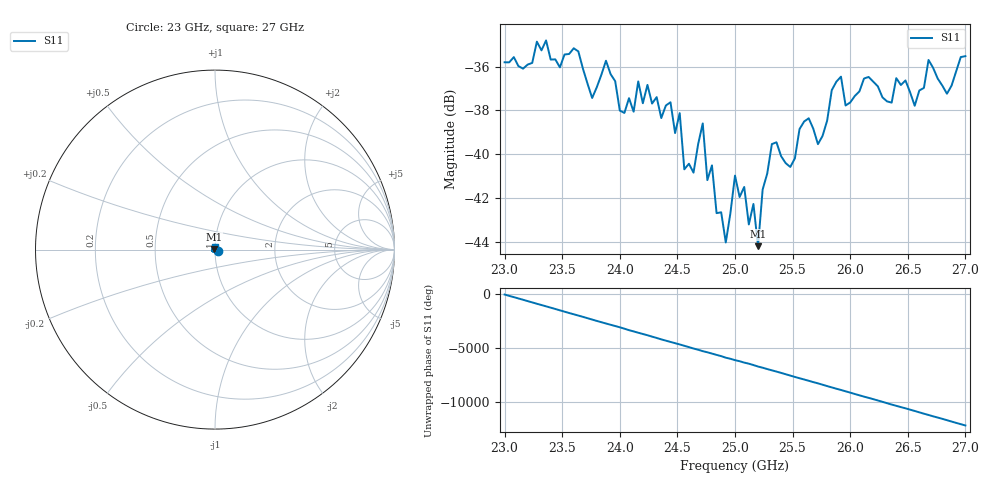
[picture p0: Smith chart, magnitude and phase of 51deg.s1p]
#  HZ  S  RI  R  50.00
! Rohde & Schwarz ZVA40 4Ports - Version 3.90 - 1145.1110k42 SN: 100403
! Date: 2023-09-26 10:39:34
! Measurement: S12
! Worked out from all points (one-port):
!   101 points, 23 GHz to 27 GHz, reference 50 ohm
!   lowest |S11| = -44.2 dB at 25.2 GHz (marker M1), VSWR 1.01, Z = 49.5 + j0.315 ohm
!   |S11| at or under -10 dB: start of sweep to end of sweep
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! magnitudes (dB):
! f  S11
! 23 GHz  -35.8
! 23.52 GHz  -35.5
! 23.64 GHz  -35.3
! 23.76 GHz  -37.4
! 23.88 GHz  -35.7
! 24 GHz  -38.0
! 24.16 GHz  -36.7
! 24.52 GHz  -38.1
! 24.56 GHz  -40.7
! 24.64 GHz  -40.8
! 24.72 GHz  -38.6
! 24.76 GHz  -41.2
! 24.8 GHz  -40.5
! 24.92 GHz  -44.0
! 25 GHz  -41.0
! 25.12 GHz  -43.2
! 25.16 GHz  -42.3
! 25.2 GHz  -44.2
! 25.32 GHz  -39.5
! 25.52 GHz  -40.2
! 25.64 GHz  -38.4
! 25.72 GHz  -39.5
! 25.92 GHz  -36.5
! 26 GHz  -37.6
! 26.52 GHz  -37.2
! 26.68 GHz  -35.7
! 26.84 GHz  -37.2
! 27 GHz  -35.5
